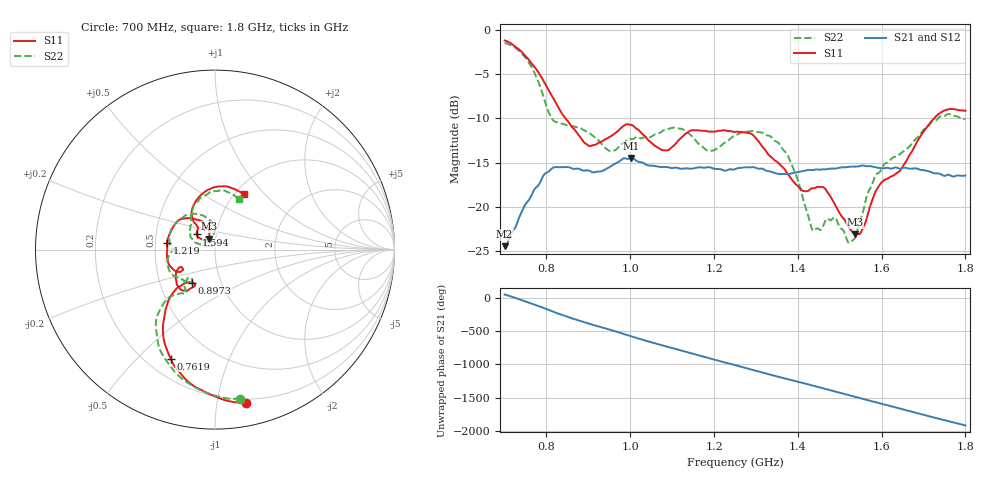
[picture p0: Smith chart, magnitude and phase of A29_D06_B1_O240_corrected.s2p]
! Created with skrf 1.9.0 (http://scikit-rf.org).
# Hz S RI R 50.0
!freq ReS11 ImS11 ReS21 ImS21 ReS12 ImS12 ReS22 ImS22
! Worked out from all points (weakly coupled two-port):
!   1601 points, 700 MHz to 1.8 GHz, reference 50 ohm
!   highest |S21| = -14.49 dB at 1.002 GHz (marker M1); lowest = -24.4 dB at 700 MHz (marker M2)
!   lowest |S11| = -23.1 dB at 1.537 GHz (marker M3), VSWR 1.15, Z = 46.5 + j5.77 ohm
!   |S11| at or under -10 dB: 845.5 MHz to 1.725 GHz (879.8 MHz wide, 68.4 % of centre)
!   |S22| runs from -24.1 to -1.5 dB; largest |S21 - S12| = 0.0035
!   S11 on the Smith chart (normalised r, x): 700 MHz: 0.17, -1.21; 761.9 MHz: 0.30, -0.63; 897.3 MHz: 0.73, -0.28; 1.219 GHz: 0.58, +0.05; 1.594 GHz: 0.80, +0.14; 1.8 GHz: 1.10, +0.78
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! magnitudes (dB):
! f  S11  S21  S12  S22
! 700 MHz  -1.2  -24.4  -24.2  -1.5
! 761.9 MHz  -3.7  -18.9  -18.8  -4.0
! 814.8 MHz  -7.6  -15.6  -15.7  -10.2
! 883.6 MHz  -12.3  -15.8  -15.7  -11.2
! 897.3 MHz  -13.0  -15.9  -15.9  -11.5
! 953 MHz  -12.0  -15.4  -15.4  -13.7
! 1.002 GHz  -10.7  -14.5  -14.6  -12.4
! 1.067 GHz  -13.3  -15.5  -15.4  -11.7
! 1.219 GHz  -11.4  -15.8  -15.8  -13.0
! 1.25 GHz  -11.5  -15.7  -15.7  -12.0
! 1.291 GHz  -11.8  -15.5  -15.5  -11.4
! 1.355 GHz  -15.1  -16.3  -16.2  -12.9
! 1.393 GHz  -17.4  -16.1  -16.1  -16.0
! 1.434 GHz  -17.9  -15.8  -15.8  -22.5
! 1.487 GHz  -19.6  -15.7  -15.6  -21.2
! 1.521 GHz  -22.3  -15.5  -15.5  -24.0
! 1.537 GHz  -23.1  -15.4  -15.5  -23.5
! 1.554 GHz  -22.5  -15.3  -15.4  -20.8
! 1.594 GHz  -17.6  -15.6  -15.6  -16.1
! 1.617 GHz  -16.7  -15.6  -15.6  -14.9
! 1.733 GHz  -9.6  -16.2  -16.3  -10.1
! 1.8 GHz  -9.1  -16.5  -16.5  -10.1
